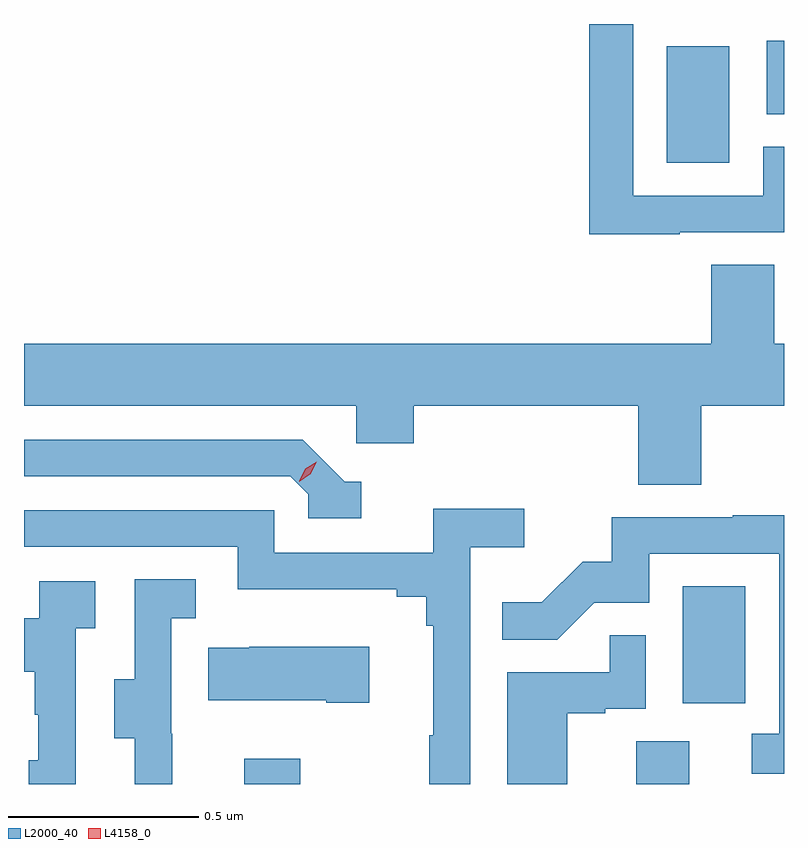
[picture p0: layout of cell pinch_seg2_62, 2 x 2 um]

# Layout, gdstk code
import gdstk
lib = gdstk.Library(unit=1e-6, precision=1e-09)
def R(c, l, rs):  # rectangles x0, y0, x1, y1
    for r in rs: c.add(gdstk.rectangle(r[:2], r[2:], *l))
def P(c, l, *ps):  # polygons
    for p in ps: c.add(gdstk.Polygon(p, *l))
L2000_40 = (2000, 40)
L4158_0 = (4158, 0)

pinch_seg2_62 = lib.new_cell('pinch_seg2_62')
R(pinch_seg2_62, L2000_40, [(1037.111,659.961,1037.259,660.028), (1038.143,659.961,1038.283,660.074), (1038.266,660.174,1038.43,660.481), (1038.224,661.596,1038.388,661.903), (1038.486,661.723,1038.532,661.917)])
P(pinch_seg2_62, L2000_40, [(1038.257,661.413),(1038.532,661.413),(1038.532,661.638),(1038.477,661.638),(1038.477,661.509),(1038.135,661.509),(1038.135,661.961),(1038.019,661.961),(1038.019,661.408),(1038.257,661.408)],
  [(1038.314,660.956),(1038.532,660.956),(1038.532,661.12),(1038.506,661.12),(1038.506,661.328),(1038.341,661.328),(1038.341,661.12),(1036.532,661.12),(1036.532,660.956),(1037.406,660.956),(1037.406,660.858),(1037.558,660.858),(1037.558,660.956),(1038.149,660.956),(1038.149,660.748),(1038.314,660.748)],
  [(1037.419,660.756),(1037.376,660.756),(1037.265,660.867),(1036.532,660.867),(1036.532,660.771),(1037.232,660.771),(1037.28,660.723),(1037.28,660.66),(1037.419,660.66)],
  [(1037.706,660.584),(1037.848,660.584),(1037.848,660.686),(1037.609,660.686),(1037.609,660.57),(1037.19,660.57),(1037.19,660.681),(1036.532,660.681),(1036.532,660.585),(1037.094,660.585),(1037.094,660.473),(1037.513,660.473),(1037.513,660.454),(1037.59,660.454),(1037.59,660.377),(1037.609,660.377),(1037.609,660.089),(1037.598,660.089),(1037.598,659.961),(1037.706,659.961)],
  [(1038.532,660.668),(1038.397,660.668),(1038.397,660.663),(1038.079,660.663),(1038.079,660.546),(1038.002,660.546),(1037.895,660.439),(1037.791,660.439),(1037.791,660.34),(1037.935,660.34),(1038.033,660.438),(1038.177,660.438),(1038.177,660.567),(1038.519,660.567),(1038.519,660.093),(1038.447,660.093),(1038.447,659.988),(1038.532,659.988)],
  [(1036.922,660.093),(1036.92,660.093),(1036.92,660.397),(1036.984,660.397),(1036.984,660.5),(1036.824,660.5),(1036.824,660.237),(1036.769,660.237),(1036.769,660.082),(1036.823,660.082),(1036.823,659.961),(1036.922,659.961)],
  [(1036.668,660.371),(1036.72,660.371),(1036.72,660.495),(1036.572,660.495),(1036.572,660.397),(1036.532,660.397),(1036.532,660.257),(1036.56,660.257),(1036.56,660.143),(1036.57,660.143),(1036.57,660.024),(1036.544,660.024),(1036.544,659.961),(1036.668,659.961)],
  [(1037.962,660.147),(1038.062,660.147),(1038.062,660.159),(1038.168,660.159),(1038.168,660.353),(1038.073,660.353),(1038.073,660.255),(1037.804,660.255),(1037.804,659.961),(1037.962,659.961)],
  [(1037.44,660.322),(1037.125,660.322),(1037.125,660.319),(1037.017,660.319),(1037.017,660.182),(1037.327,660.182),(1037.327,660.175),(1037.44,660.175)])
P(pinch_seg2_62, L4158_0, [(1037.256,660.757),(1037.256,660.758),(1037.272,660.79),(1037.303,660.809),(1037.303,660.809),(1037.303,660.809),(1037.287,660.777),(1037.256,660.757)])

lib.write_gds('pinch_seg2_62.gds')
